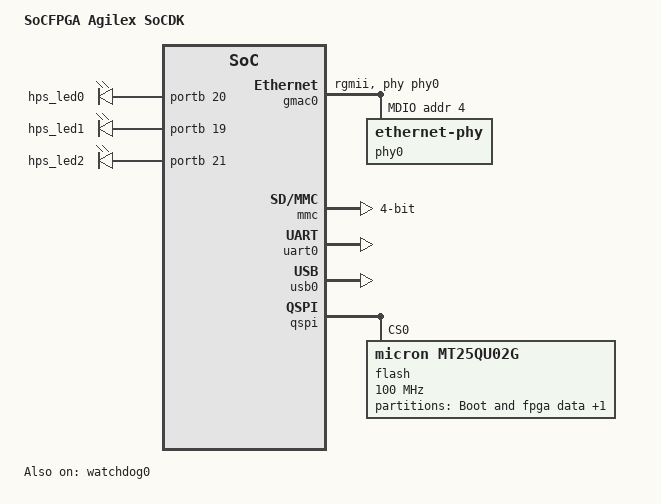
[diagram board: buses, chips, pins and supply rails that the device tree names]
// SPDX-License-Identifier:     GPL-2.0
/*
 * Copyright (C) 2019, Intel Corporation
 */
#include "socfpga_agilex.dtsi"

/ {
	model = "SoCFPGA Agilex SoCDK";
	compatible = "intel,socfpga-agilex-socdk", "intel,socfpga-agilex";

	aliases {
		serial0 = &uart0;
		ethernet0 = &gmac0;
		ethernet1 = &gmac1;
		ethernet2 = &gmac2;
	};

	chosen {
		stdout-path = "serial0:115200n8";
	};

	leds {
		compatible = "gpio-leds";
		led0 {
			label = "hps_led0";
			gpios = <&portb 20 GPIO_ACTIVE_HIGH>;
		};

		led1 {
			label = "hps_led1";
			gpios = <&portb 19 GPIO_ACTIVE_HIGH>;
		};

		led2 {
			label = "hps_led2";
			gpios = <&portb 21 GPIO_ACTIVE_HIGH>;
		};
	};

	memory@80000000 {
		device_type = "memory";
		/* We expect the bootloader to fill in the reg */
		reg = <0 0x80000000 0 0>;
	};
};

&gpio1 {
	status = "okay";
};

&gmac0 {
	status = "okay";
	phy-mode = "rgmii";
	phy-handle = <&phy0>;

	max-frame-size = <9000>;

	mdio0 {
		#address-cells = <1>;
		#size-cells = <0>;
		compatible = "snps,dwmac-mdio";
		phy0: ethernet-phy@0 {
			reg = <4>;

			txd0-skew-ps = <0>; /* -420ps */
			txd1-skew-ps = <0>; /* -420ps */
			txd2-skew-ps = <0>; /* -420ps */
			txd3-skew-ps = <0>; /* -420ps */
			rxd0-skew-ps = <420>; /* 0ps */
			rxd1-skew-ps = <420>; /* 0ps */
			rxd2-skew-ps = <420>; /* 0ps */
			rxd3-skew-ps = <420>; /* 0ps */
			txen-skew-ps = <0>; /* -420ps */
			txc-skew-ps = <900>; /* 0ps */
			rxdv-skew-ps = <420>; /* 0ps */
			rxc-skew-ps = <1680>; /* 780ps */
		};
	};
};

&mmc {
	status = "okay";
	cap-sd-highspeed;
	broken-cd;
	bus-width = <4>;
	clk-phase-sd-hs = <0>, <135>;
};

&osc1 {
	clock-frequency = <25000000>;
};

&uart0 {
	status = "okay";
};

&usb0 {
	status = "okay";
	disable-over-current;
};

&watchdog0 {
	status = "okay";
};

&qspi {
	status = "okay";
	flash@0 {
		#address-cells = <1>;
		#size-cells = <1>;
		compatible = "micron,mt25qu02g", "jedec,spi-nor";
		reg = <0>;
		spi-max-frequency = <100000000>;

		m25p,fast-read;
		cdns,page-size = <256>;
		cdns,block-size = <16>;
		cdns,read-delay = <2>;
		cdns,tshsl-ns = <50>;
		cdns,tsd2d-ns = <50>;
		cdns,tchsh-ns = <4>;
		cdns,tslch-ns = <4>;

		partitions {
			compatible = "fixed-partitions";
			#address-cells = <1>;
			#size-cells = <1>;

			qspi_boot: partition@0 {
				label = "Boot and fpga data";
				reg = <0x0 0x04200000>;
			};

			root: partition@4200000 {
				label = "Root Filesystem - UBIFS";
				reg = <0x04200000 0x0BE00000>;
			};
		};
	};
};

&temp_volt {
	voltage {
		#address-cells = <1>;
		#size-cells = <0>;
		input@2 {
			label = "0.8V VCC";
			reg = <2>;
		};

		input@3 {
			label = "1.8V VCCIO_SDM";
			reg = <3>;
		};

		input@4 {
			label = "1.8V VCCPT";
			reg = <4>;
		};

		input@5 {
			label = "1.2V VCCCRCORE";
			reg = <5>;
		};

		input@6 {
			label = "0.9V VCCH";
			reg = <6>;
		};

		input@7 {
			label = "0.8V VCCL";
			reg = <7>;
		};
	};

	temperature {
		#address-cells = <1>;
		#size-cells = <0>;

		input@0 {
			label = "Main Die SDM";
			reg = <0x0>;
		};

		input@10000 {
			label = "Main Die corner bottom left max";
			reg = <0x10000>;
		};

		input@20000 {
			label = "Main Die corner top left max";
			reg = <0x20000>;
		};

		input@30000 {
			label = "Main Die corner bottom right max";
			reg = <0x30000>;
		};

		input@40000 {
			label = "Main Die corner top right max";
			reg = <0x40000>;
		};
	};
};
